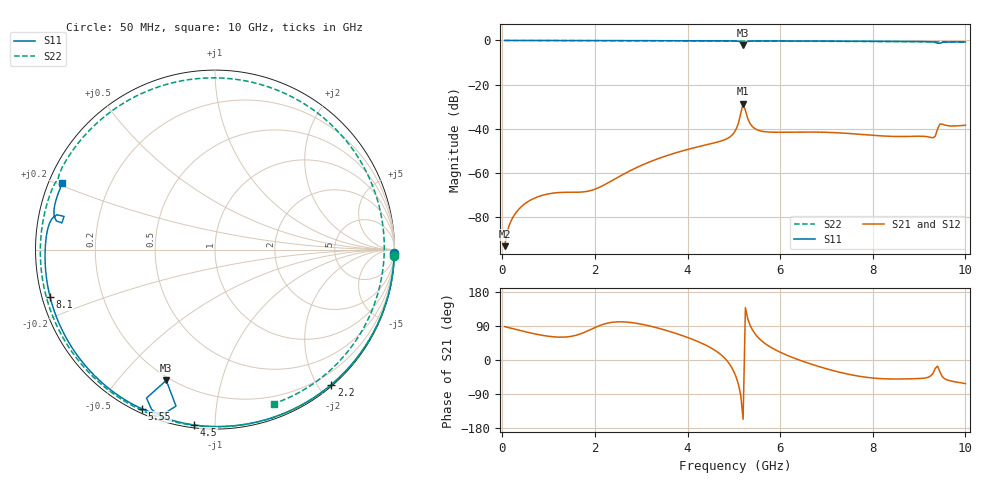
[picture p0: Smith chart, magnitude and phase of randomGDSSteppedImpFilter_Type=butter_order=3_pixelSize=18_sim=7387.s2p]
! freq	dB(S11)	phase(S11)	dB(S12)	phase(S12)
!  dB(S21)	phase(S21)	dB(S22)	phase(S22)
!S-par simulation data
#  GHz  S  DB  R 50
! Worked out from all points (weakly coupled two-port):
!   200 points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, 50 MHz to 10 GHz, reference 50 ohm
!   highest |S21| = -28.58 dB at 5.2 GHz (marker M1); lowest = -93.1 dB at 50 MHz (marker M2)
!   lowest |S11| = -2.2 dB at 5.2 GHz (marker M3), VSWR 8.00, Z = 9.2 - j33.9 ohm
!   |S11| at or under -10 dB: nowhere
!   |S22| runs from -0.7 to 0.0 dB; largest |S21 - S12| = 0
!   S11 on the Smith chart (normalised r, x): 50 MHz: 1, -98; 2.2 GHz: 0.02, -2.18; 4.5 GHz: 0.01, -0.89; 5.55 GHz: 0.02, -0.64; 8.1 GHz: 0.02, -0.14; 10 GHz: 0.04, +0.21
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0.05  -0.00 -1.2  -93.14 88.1  -93.14 88.1  -0.01 -2.2
0.2  -0.01 -4.6  -81.22 83.5  -81.22 83.5  -0.01 -8.6
0.8  -0.02 -18.2  -70.54 66.5  -70.54 66.5  -0.04 -34.0
1.75  -0.05 -39.4  -68.56 71.9  -68.56 71.9  -0.09 -72.8
2.2  -0.06 -49.2  -65.41 95.0  -65.41 95.0  -0.11 -90.4
3.4  -0.10 -74.4  -53.25 83.0  -53.25 83.0  -0.17 -135.6
4.5  -0.14 -96.7  -46.77 32.4  -46.77 32.4  -0.23 -176.8
4.9  -0.18 -105.3  -43.89 -9.5  -43.89 -9.5  -0.26 167.7
5.05  -0.27 -109.6  -40.14 -45.2  -40.14 -45.2  -0.27 161.7
5.15  -0.82 -114.8  -33.08 -94.0  -33.08 -94.0  -0.31 157.5
5.2  -2.18 -110.4  -28.58 -156.4  -28.58 -156.4  -0.36 155.8
5.25  -0.93 -104.0  -31.69 138.2  -31.69 138.2  -0.31 154.0
5.35  -0.30 -109.1  -37.61 92.0  -37.61 92.0  -0.29 149.8
5.55  -0.21 -114.6  -40.81 56.3  -40.81 56.3  -0.30 141.4
6.15  -0.23 -126.7  -41.53 12.5  -41.53 12.5  -0.35 115.2
6.7  -0.27 -137.1  -41.46 -12.1  -41.46 -12.1  -0.38 89.6
7.35  -0.32 -149.4  -41.93 -34.2  -41.93 -34.2  -0.43 57.8
8.1  -0.39 -163.9  -43.09 -48.6  -43.09 -48.6  -0.47 20.1
8.35  -0.42 -168.9  -43.38 -50.0  -43.38 -50.0  -0.49 7.6
9.3  -0.68 169.3  -44.09 -35.3  -44.09 -35.3  -0.61 -37.9
9.45  -1.25 170.1  -37.82 -31.3  -37.82 -31.3  -0.63 -44.7
10  -0.66 156.5  -38.37 -62.3  -38.37 -62.3  -0.74 -69.1
